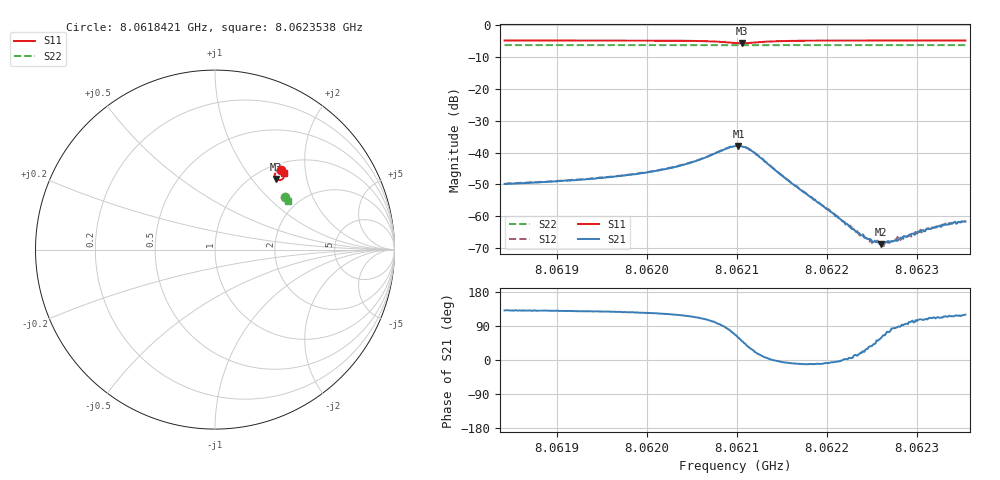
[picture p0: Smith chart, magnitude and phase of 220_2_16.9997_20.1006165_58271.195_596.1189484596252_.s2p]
#  HZ  S  RI  R  50.00
! Rohde & Schwarz Vector Network Analyzer
! Rohde-Schwarz,ZNB20-2Port,1311601062101988,3.16
! Created: UTC 3/20/2024, 11:01:56 PM
! freq[Hz]  re:S11  im:S11  re:S21  im:S21  re:S12  im:S12  re:S22  im:S22
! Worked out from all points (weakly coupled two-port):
!   401 points, 8.0618421 GHz to 8.0623538 GHz, reference 50 ohm
!   highest |S21| = -37.89 dB at 8.0621018 GHz (marker M1); lowest = -68.7 dB at 8.0622604 GHz (marker M2)
!   lowest |S11| = -5.7 dB at 8.0621056 GHz (marker M3), VSWR 3.17, Z = 61.9 + j66.8 ohm
!   |S11| at or under -10 dB: nowhere
!   |S22| runs from -6.3 to -6.2 dB; largest |S21 - S12| = 0.001
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8.06184208e9  0.3664 0.4442  -0.0021 0.00243  -0.00198 0.00257  0.3875 0.295
8.0619278e9  0.3729 0.4383  -0.00236 0.00293  -0.00221 0.0031  0.3904 0.2907
8.06197257e9  0.3768 0.434  -0.00258 0.00347  -0.00241 0.00369  0.3919 0.2885
8.06201352e9  0.3809 0.4281  -0.00284 0.00442  -0.00259 0.00462  0.3934 0.2862
8.06204934e9  0.3844 0.4179  -0.00291 0.00635  -0.00257 0.00655  0.3943 0.2843
8.06209028e9  0.3691 0.3891  0.00179 0.0117  0.00245 0.0117  0.3946 0.2813
8.06209796e9  0.3556 0.3868  0.00495 0.0116  0.00571 0.0114  0.3942 0.2811
8.06210179e9  0.3478 0.3888  0.00658 0.0109  0.00741 0.0106  0.3941 0.2809
8.06210563e9  0.3409 0.3934  0.00801 0.00957  0.00857 0.00927  0.3938 0.2813
8.06211843e9  0.3322 0.4165  0.00916 0.00429  0.00962 0.0037  0.3942 0.2818
8.06215809e9  0.357 0.4395  0.00353 -0.000483  0.0035 -0.000753  0.397 0.2805
8.06218368e9  0.3659 0.4388  0.00189 -0.000353  0.00188 -0.000527  0.3982 0.2792
8.06223997e9  0.3757 0.4347  0.000462 0.000204  0.000505 0.000132  0.4002 0.2762
8.06224893e9  0.3766 0.4339  0.000346 0.000254  0.000337 0.000258  0.4007 0.2757
8.06225532e9  0.3775 0.4336  0.000241 0.000309  0.000283 0.000303  0.4008 0.2754
8.06226044e9  0.3781 0.4331  0.00019 0.000315  0.000207 0.000304  0.401 0.2752
8.0622694e9  0.379 0.4326  0.000109 0.000381  0.000113 0.000366  0.4013 0.2748
8.06227707e9  0.3797 0.4322  3.32e-05 0.00042  4.98e-05 0.000412  0.4016 0.2743
8.06228219e9  0.3803 0.4318  5.89e-06 0.000462  2.93e-05 0.000431  0.4017 0.274
8.06231417e9  0.3831 0.4299  -0.000233 0.000592  -0.000222 0.000592  0.4028 0.2723
8.06233976e9  0.3851 0.4283  -0.000337 0.000699  -0.000311 0.0007  0.4036 0.2711
8.06235384e9  0.386 0.4274  -0.000408 0.000715  -0.000367 0.000742  0.4042 0.2704
